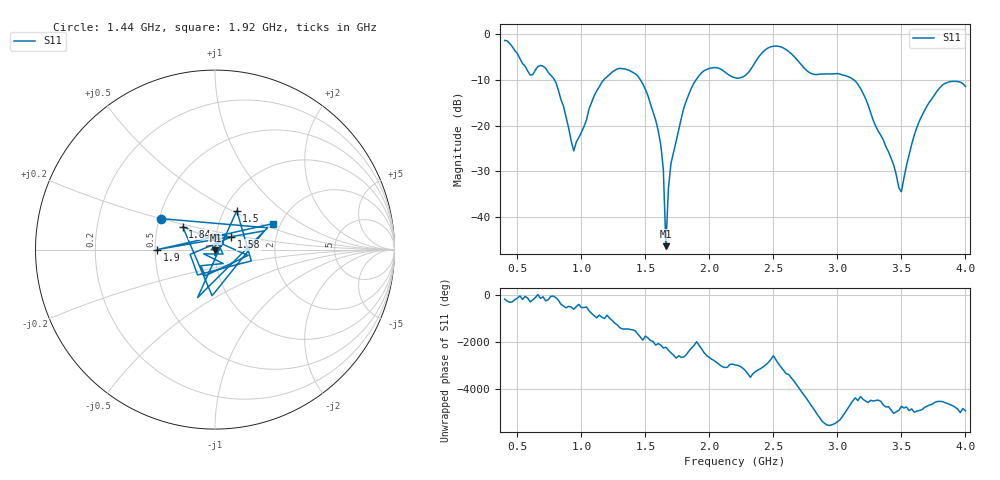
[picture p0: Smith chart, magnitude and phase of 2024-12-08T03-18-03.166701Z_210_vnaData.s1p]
!Created with skrf (http://scikit-rf.org).
# Hz S RI R 50.0
!freq ReS11 ImS11
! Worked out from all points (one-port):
!   181 points, 400 MHz to 4 GHz, reference 50 ohm
!   lowest |S11| = -46.3 dB at 1.66 GHz (marker M1), VSWR 1.01, Z = 50.3 - j0.413 ohm
!   |S11| at or under -10 dB: 788.4 MHz to 1.175 GHz (386.3 MHz wide, 39.4 % of centre); 1.461 GHz to 1.896 GHz (435.3 MHz wide, 25.9 % of centre); 3.127 GHz to end of sweep
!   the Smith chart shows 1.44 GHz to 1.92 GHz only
!   S11 on the Smith chart (normalised r, x): 1.44 GHz: 0.51, +0.20; 1.5 GHz: 1.15, +0.53; 1.58 GHz: 1.19, +0.17; 1.84 GHz: 0.67, +0.18; 1.9 GHz: 0.51, -0.00; 1.92 GHz: 1.82, +0.60
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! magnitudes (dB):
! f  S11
! 400 MHz  -1.4
! 600 MHz  -9.0
! 720 MHz  -7.5
! 860 MHz  -15.8
! 940 MHz  -25.5
! 1.12 GHz  -12.4
! 1.3 GHz  -7.5
! 1.44 GHz  -9.2
! 1.5 GHz  -12.1
! 1.58 GHz  -18.8
! 1.64 GHz  -29.5
! 1.66 GHz  -46.3
! 1.68 GHz  -33.6
! 1.7 GHz  -28.2
! 1.76 GHz  -20.9
! 1.84 GHz  -13.1
! 1.9 GHz  -9.8
! 1.92 GHz  -9.1
! 2.2 GHz  -9.6
! 2.48 GHz  -2.8
! 2.66 GHz  -4.9
! 2.8 GHz  -8.7
! 3.1 GHz  -9.5
! 3.22 GHz  -14.1
! 3.5 GHz  -34.4
! 3.56 GHz  -26.4
! 3.78 GHz  -12.4
! 4 GHz  -11.4
